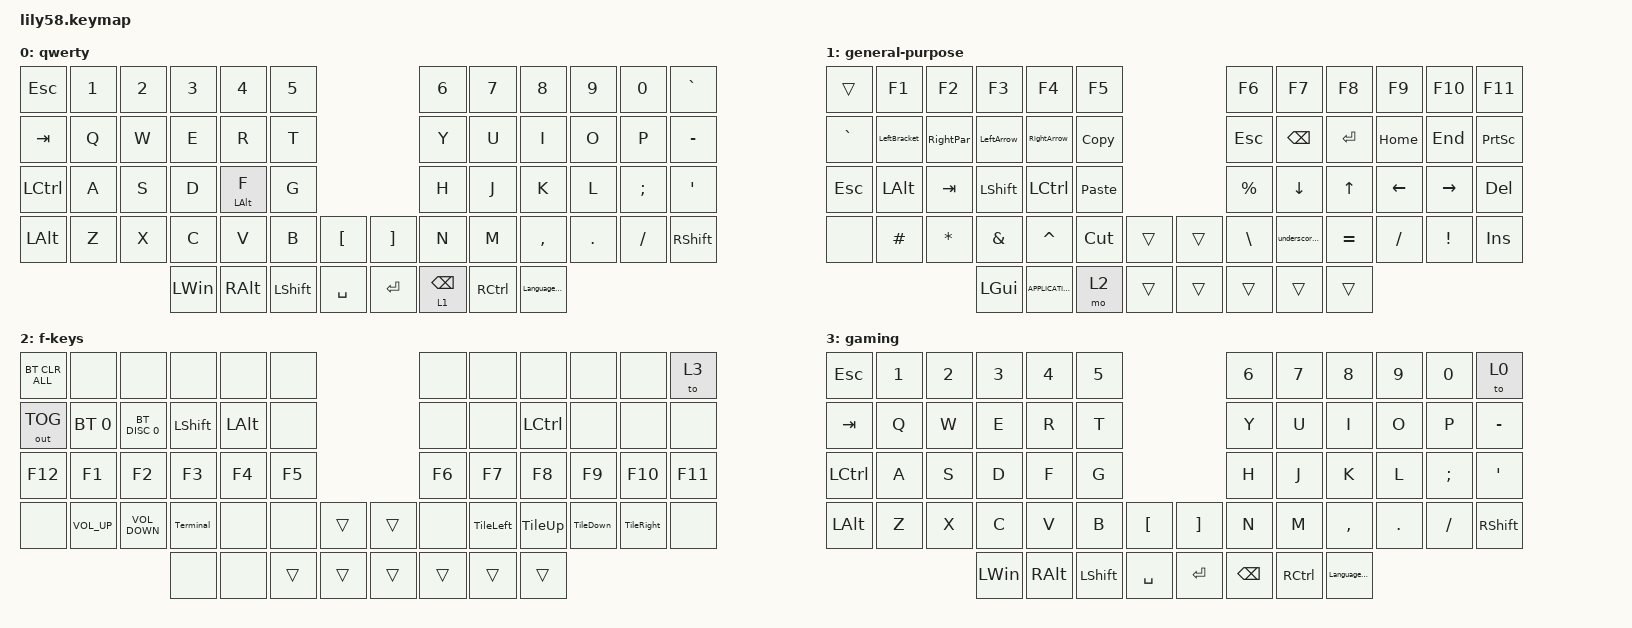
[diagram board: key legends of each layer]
/*
 * Copyright (c) 2020 The ZMK Contributors
 *
 * SPDX-License-Identifier: MIT
 */

#include <behaviors.dtsi>
#include <dt-bindings/zmk/bt.h>
#include <dt-bindings/zmk/keys.h>
#include <dt-bindings/zmk/outputs.h>

/ {
    behaviors {
        LeftBracket: LeftBracket {
            compatible = "zmk,behavior-mod-morph";
            label = "LEFTBRACKET";
            bindings = <&kp LEFT_PARENTHESIS>, <&kp LEFT_BRACKET>;

            #binding-cells = <0>;
            mods = <(MOD_LCTL|MOD_LSFT|MOD_LALT)>;
        };

        RightPar: RightPar {
            compatible = "zmk,behavior-mod-morph";
            label = "RIGHTPAR";
            bindings = <&kp RIGHT_PARENTHESIS>, <&kp RIGHT_BRACKET>;

            #binding-cells = <0>;
            mods = <(MOD_LCTL|MOD_LSFT|MOD_LALT)>;
        };

        LeftArrow: LeftArrow {
            compatible = "zmk,behavior-mod-morph";
            label = "LEFTARROW";
            bindings = <&kp LEFT_BRACE>, <&kp LESS_THAN>;

            #binding-cells = <0>;
            mods = <(MOD_LCTL|MOD_LSFT|MOD_LALT)>;
        };

        RightArrow: RightArrow {
            compatible = "zmk,behavior-mod-morph";
            label = "RIGHTARROW";
            bindings = <&kp RIGHT_BRACE>, <&kp GREATER_THAN>;

            #binding-cells = <0>;
            mods = <(MOD_LCTL|MOD_LSFT|MOD_LALT)>;
        };

        underscoreNminus: underscoreNminus {
            compatible = "zmk,behavior-mod-morph";
            label = "UNDERSCORENMINUS";
            bindings = <&kp UNDERSCORE>, <&kp KP_MINUS>;

            #binding-cells = <0>;
            mods = <(MOD_LCTL|MOD_LSFT|MOD_LALT)>;
        };

        delete_or_layer: delete_or_layer {
            compatible = "zmk,behavior-hold-tap";
            label = "DELETE_OR_LAYER";
            bindings = <&mo>, <&kp>;

            #binding-cells = <2>;
            tapping-term-ms = <400>;
            flavor = "tap-preferred";
        };

        F_ALT_MODE: F_ALT_MODE {
            compatible = "zmk,behavior-hold-tap";
            label = "F_ALT_MODE";
            bindings = <&kp>, <&kp>;

            #binding-cells = <2>;
            tapping-term-ms = <200>;
            flavor = "tap-preferred";
        };
    };

    macros {
        Copy: cutNpase {
            compatible = "zmk,behavior-macro";
            #binding-cells = <0>;
            bindings = <&kt LCTRL &kp C &kt LCTRL>;
            label = "CUTNPASE";
        };

        Cut: Cut {
            compatible = "zmk,behavior-macro";
            #binding-cells = <0>;
            bindings = <&kt LCTRL &kp X &kt LCTRL>;
            label = "CUT";
        };

        Paste: Paste {
            compatible = "zmk,behavior-macro";
            #binding-cells = <0>;
            bindings = <&kt LCTRL &kp V &kt LCTRL>;
            label = "PASTE";
        };

        LanguageSwap: LanguageSwap {
            compatible = "zmk,behavior-macro";
            #binding-cells = <0>;
            bindings = <&kt LCTRL &kp LEFT_SHIFT &kt LCTRL>;
            label = "LANGUAGESWAP";
        };

        swap_lang_linux: swap_lang_linux {
            compatible = "zmk,behavior-macro";
            #binding-cells = <0>;
            bindings = <&kt RIGHT_ALT &kp RIGHT_SHIFT &kt RIGHT_ALT>;
            label = "SWAP_LANG_LINUX";
        };

        Terminal: Terminal {
            compatible = "zmk,behavior-macro";
            #binding-cells = <0>;
            bindings = <&kt LCTRL &kt LALT &kp T &kt LCTRL &kt LEFT_ALT>;
            label = "TERMINAL";
        };

        TileUp: TileUp {
            compatible = "zmk,behavior-macro";
            #binding-cells = <0>;
            bindings = <&kt LEFT_WIN &kp C_AC_HOME &kt LEFT_GUI>;
            label = "TILEUP";
        };

        TileLeft: TileLeft {
            compatible = "zmk,behavior-macro";
            #binding-cells = <0>;
            bindings = <&kt LEFT_WIN &kp PAGE_UP &kt LEFT_GUI>;
            label = "TILELEFT";
        };

        TileRight: TileRight {
            compatible = "zmk,behavior-macro";
            #binding-cells = <0>;
            bindings = <&kt LEFT_GUI &kp END &kt LEFT_GUI>;
            label = "TILERIGHT";
        };

        TileDown: TileDown {
            compatible = "zmk,behavior-macro";
            #binding-cells = <0>;
            bindings = <&kt LEFT_GUI &kp C_NEXT &kt LEFT_GUI>;
            label = "TILEDOWN";
        };
    };

    keymap {
        compatible = "zmk,keymap";

        qwerty {
            // ------------------------------------------------------------------------------------------------------------
            // |  ESC  |  1  |  2  |  3   |  4   |  5   |                   |  6   |  7    |  8    |  9   |   0   |   `   |
            // |  TAB  |  Q  |  W  |  E   |  R   |  T   |                   |  Y   |  U    |  I    |  O   |   P   |   -   |
            // |  CTRL |  A  |  S  |  D   |  F   |  G   |                   |  H   |  J    |  K    |  L   |   ;   |   '   |
            // | SHIFT |  Z  |  X  |  C   |  V   |  B   |   "["  |  |  "]"  |  N   |  M    |  ,    |  .   |   /   | SHIFT |
            //                     | ALT  | GUI  | LOWER|  SPACE |  | ENTER | RAISE| BSPC  | GUI   |

            bindings = <
&kp ESC           &kp N1  &kp N2  &kp N3    &kp N4                  &kp N5                                 &kp N6                        &kp N7             &kp N8         &kp N9   &kp N0    &kp GRAVE
&kp TAB           &kp Q   &kp W   &kp E     &kp R                   &kp T                                  &kp Y                         &kp U              &kp I          &kp O    &kp P     &kp MINUS
&kp LEFT_CONTROL  &kp A   &kp S   &kp D     &F_ALT_MODE LEFT_ALT F  &kp G                                  &kp H                         &kp J              &kp K          &kp L    &kp SEMI  &kp SQT
&kp LEFT_ALT      &kp Z   &kp X   &kp C     &kp V                   &kp B           &kp LBKT     &kp RBKT  &kp N                         &kp M              &kp COMMA      &kp DOT  &kp FSLH  &kp RSHFT
                                  &kp LWIN  &kp RIGHT_ALT           &kp LEFT_SHIFT  &kp SPACE    &kp RET   &delete_or_layer 1 BACKSPACE  &kp RIGHT_CONTROL  &LanguageSwap
            >;
        };

        general-purpose {
            // ------------------------------------------------------------------------------------------------------------
            // |       |     |     |      |      |      |                   |      |       |       |      |       |       |
            // |   `   |  1  |  2  |  3   |  4   |  5   |                   |  6   |   7   |   8   |  9   |   0   |       |
            // |   F1  |  F2 |  F3 |  F4  |  F5  |  F6  |                   |      |   <-  |   v   |  ^   |  ->   |       |
            // |   F7  |  F8 |  F9 |  F10 |  F11 |  F12 |        |  |       |  +   |   -   |   =   |  [   |   ]   |   \   |
            //                     |      |      |      |        |  |       |      |       |       |

            bindings = <
&trans      &kp F1        &kp F2        &kp F3          &kp F4             &kp F5                    &kp F6         &kp F7             &kp F8        &kp F9     &kp F10          &kp F11
&kp GRAVE   &LeftBracket  &RightPar     &LeftArrow      &RightArrow        &Copy                     &kp ESCAPE     &kp BACKSPACE      &kp ENTER     &kp HOME   &kp END          &kp PRINTSCREEN
&kp ESCAPE  &kp LEFT_ALT  &kp TAB       &kp LEFT_SHIFT  &kp LCTRL          &Paste                    &kp PERCENT    &kp DOWN           &kp UP_ARROW  &kp LEFT   &kp RIGHT        &kp DELETE
&none       &kp HASH      &kp ASTERISK  &kp AMPERSAND   &kp CARET          &Cut    &trans    &trans  &kp BACKSLASH  &underscoreNminus  &kp EQUAL     &kp SLASH  &kp EXCLAMATION  &kp INSERT
                                        &kp LEFT_GUI    &kp K_APPLICATION  &mo 2   &trans    &trans  &trans         &trans             &trans
            >;
        };

        f-keys {
            bindings = <
&bt BT_CLR_ALL  &none            &none              &none       &none         &none                     &none   &none      &none      &none      &none       &to 3
&out OUT_TOG    &bt BT_SEL 0     &bt BT_DISC 0      &kp LSHIFT  &kp LEFT_ALT  &none                     &none   &none      &kp LCTRL  &none      &none       &none
&kp F12         &kp F1           &kp F2             &kp F3      &kp F4        &kp F5                    &kp F6  &kp F7     &kp F8     &kp F9     &kp F10     &kp F11
&none           &kp C_VOLUME_UP  &kp C_VOLUME_DOWN  &Terminal   &none         &none   &trans    &trans  &none   &TileLeft  &TileUp    &TileDown  &TileRight  &none
                                                    &none       &none         &trans  &trans    &trans  &trans  &trans     &trans
            >;
        };

        gaming {
            bindings = <
&kp ESC    &kp N1  &kp N2  &kp N3    &kp N4         &kp N5                            &kp N6    &kp N7             &kp N8         &kp N9   &kp N0    &to 0
&kp TAB    &kp Q   &kp W   &kp E     &kp R          &kp T                             &kp Y     &kp U              &kp I          &kp O    &kp P     &kp MINUS
&kp LCTRL  &kp A   &kp S   &kp D     &kp F          &kp G                             &kp H     &kp J              &kp K          &kp L    &kp SEMI  &kp SQT
&kp LALT   &kp Z   &kp X   &kp C     &kp V          &kp B      &kp LBKT     &kp RBKT  &kp N     &kp M              &kp COMMA      &kp DOT  &kp FSLH  &kp RSHFT
                           &kp LWIN  &kp RIGHT_ALT  &kp LSHFT  &kp SPACE    &kp RET   &kp BSPC  &kp RIGHT_CONTROL  &LanguageSwap
            >;
        };
    };
};
